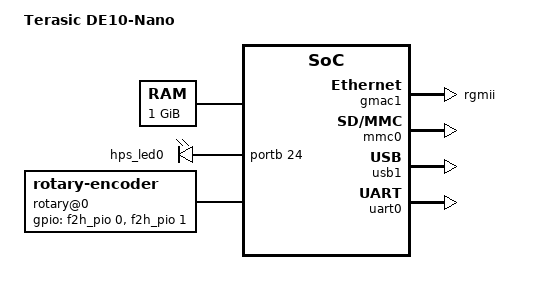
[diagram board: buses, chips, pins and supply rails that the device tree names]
/// SPDX-License-Identifier: GPL-2.0+
/*
 * Copyright (C) 2017, Intel Corporation
 *
 * based on socfpga_cyclone5_de0_nano_soc.dts
 *
 * VincNL test
 */

#include "socfpga_cyclone5.dtsi"

/ {
        model = "Terasic DE10-Nano";
        compatible = "altr,socfpga-cyclone5", "altr,socfpga";

        chosen {
                bootargs = "earlyprintk";
                stdout-path = "serial0:115200n8";
        };

        aliases {
                ethernet0 = &gmac1;
        };

        memory {
                name = "memory";
                device_type = "memory";
                reg = <0x0 0x40000000>; /* 1GB */
        };

        leds {
               compatible = "gpio-leds";
               hps0 {
                       label = "hps_led0";
                       gpios = <&portb 24 0>;
                       linux,default-trigger = "heartbeat";
               };
        };

        soc {
                led_pio: gpio@0xff203000 {
                        compatible = "altr,pio-1.0";
                        reg = <0xff203000 0x10>;
                        altr,gpio-bank-width = <7>;
                        altr,ngpio = <7>;
                        resetvalue = <0>;
                        #gpio-cells = <2>;
                        gpio-controller;
                };

                dipsw_pio: gpio@0xff204000 {
                        compatible = "altr,pio-1.0";
                        reg = <0xff204000 0x00000010>;
                        interrupt-parent = <&intc>;
                        interrupts = <0 40 1>;
                        altr,gpio-bank-width = <4>;
			altr,ngpio = <4>;
                        altr,interrupt-type = <3>;
                        altr,interrupt_type = <3>;
                        edge_type = <2>;
                        level_trigger = <0>;
                        resetvalue = <0>;
                        #gpio-cells = <2>;
                        gpio-controller;
                };


                button_pio: gpio@0xff205000 {
                        compatible = "altr,pio-1.0";
                        reg = <0xff205000 0x00000010>;
                        interrupt-parent = <&intc>;
                        interrupts = <0 41 1>;
                        altr,gpio-bank-width = <2>;
			altr,ngpio = <2>;
                        altr,interrupt-type = <2>;
                        altr,interrupt_type = <2>;
                        edge_type = <1>;
                        level_trigger = <0>;
                        resetvalue = <0>;
                        #gpio-cells = <2>;
                        gpio-controller;
                };


                h2f_pio: gpio@0xff206000 {
                        compatible = "altr,pio-1.0";
                        reg = <0xff206000 0x10>;
                        altr,gpio-bank-width = <32>;
                        altr,ngpio = <32>;
                        resetvalue = <0>;
                        #gpio-cells = <2>;
                        gpio-controller;
                };


                f2h_pio: gpio@0xff207000 {
                        compatible = "altr,pio-1.0";
                        reg = <0xff207000 0x00000010>;
                        interrupt-parent = <&intc>;
                        interrupts = <0 43 1>;
                        altr,gpio-bank-width = <32>;
                        altr,interrupt-type = <3>;
                        altr,interrupt_type = <3>;
                        edge_type = <2>;
                        level_trigger = <0>;
                        resetvalue = <0>;
                        #gpio-cells = <2>;
                        gpio-controller;
                };

                rotary@0 {
                        compatible = "rotary-encoder";
                        gpios = <&f2h_pio 0 0>, <&f2h_pio 1 0>;
                        linux,axis = <1>;
                        rotary-encoder,steps = <30>;
                        rotary-encoder,encoding = "gray";
                        rotary-encoder,relative-axis;
                        rotary-encoder,steps-per-period = <2>;
                };

                rotary_key@0 {
                        compatible = "gpio-keys";
                        #address-cells = <1>;
                        #size-cells = <0>;
                        linux,code = <103>;
                        label = "rotary_key";
                        gpios = <&f2h_pio 2 1>;
                        autorepeat;
                };
		
		dp_0_frame_buf: vip@0xff200000 {
			compatible = "altr,vip-frame-buffer-2.0";
			reg = <0xff200000 0x40>;
			interrupts = <0 44 1>;
			altr,interrupt-type = <1>;
			//altr,max-width = <1024>;
			//altr,max-height = <768>;
                        altr,max-width = <640>;
			altr,max-height = <480>;
			altr,bits-per-symbol = <8>;
			altr,mem-port-width = <128>;
		};

		// msgdma_controller: msgdma@0xff200000 {
		// 	compatible = "altr,altera-msgdma";
		// 	reg = <0xff200000 0x20>, <0xff200020 0x20>;
		// 	reg-names = "csr", "desc";
		// 	interrupts = <0 40 1>;
		// 	#dma-cells = <1>;
		// };
	};
};

&gmac1 {
        status = "okay";
        phy-mode = "rgmii";

        rxd0-skew-ps = <420>;
        rxd1-skew-ps = <420>;
        rxd2-skew-ps = <420>;
        rxd3-skew-ps = <420>;
        txen-skew-ps = <0>;
        txc-skew-ps = <1860>;
        rxdv-skew-ps = <420>;
        rxc-skew-ps = <1680>;
};

&gpio0 {
        status = "okay";
};

&gpio1 {
        status = "okay";
};

&gpio2 {
        status = "okay";
};

&porta {
        bank-name = "porta";
};

&portb {
        bank-name = "portb";
};

&portc {
        bank-name = "portc";
};

&mmc0 {
        status = "okay";
};

&usb1 {
        status = "okay";
};

&uart0 {
        status = "okay";
};

&watchdog0 {
        status = "disabled";
};

&fpga_bridge0 {
        status = "okay";
        bridge-enable = <1>;
};

&fpga_bridge1 {
        status = "okay";
        bridge-enable = <1>;
};

&fpga_bridge2 {
        status = "okay";
        bridge-enable = <1>;
};

&fpga_bridge3 {
        status = "okay";
        bridge-enable = <1>;
};

